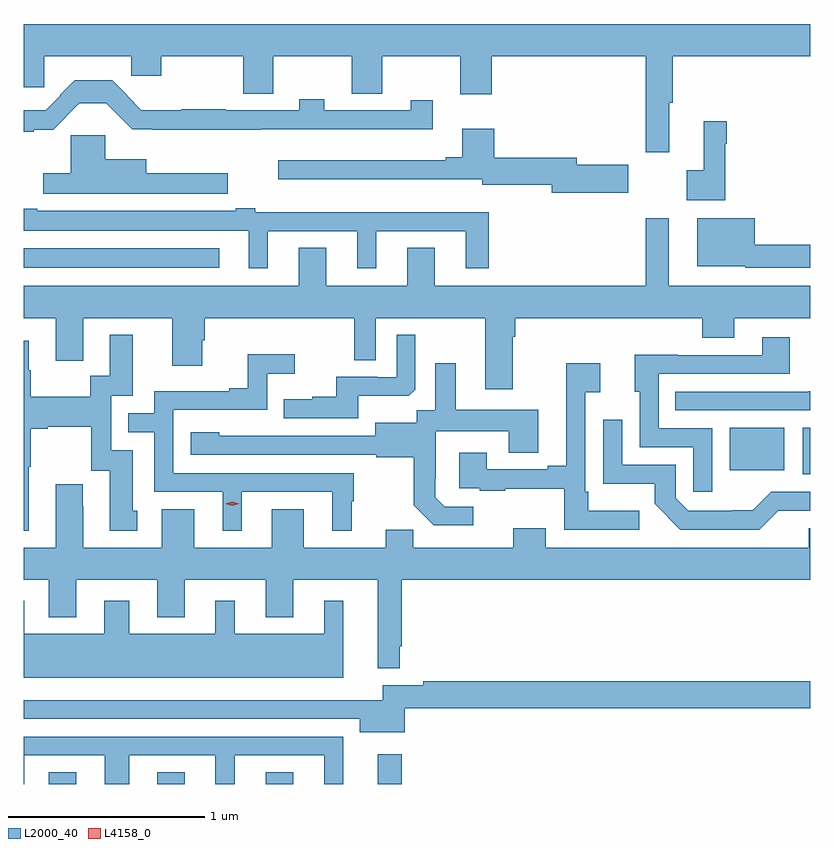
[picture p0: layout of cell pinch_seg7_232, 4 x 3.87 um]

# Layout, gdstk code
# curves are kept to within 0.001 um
import gdstk
lib = gdstk.Library(unit=1e-6, precision=1e-09)
def R(c, l, rs):  # rectangles x0, y0, x1, y1
    for r in rs: c.add(gdstk.rectangle(r[:2], r[2:], *l))
def A(c, l, x, y, w, h, nx, ny, dx, dy):  # array of equal rectangles
    R(c, l, [(x+i*dx, y+j*dy, x+i*dx+w, y+j*dy+h) for i in range(nx) for j in range(ny)])
def P(c, l, *ps):  # polygons
    for p in ps: c.add(gdstk.Polygon(p, *l))
L2000_40 = (2000, 40)
L4158_0 = (4158, 0)

pinch_seg7_232 = lib.new_cell('pinch_seg7_232')
A(pinch_seg7_232, L2000_40, 837.443, 1056.854, 0.14, 0.06, 3, 1, 0.552, 0)
R(pinch_seg7_232, L2000_40, [(839.117,1056.854,839.239,1057.006), (841.28,1058.429,841.317,1058.665), (840.908,1058.45,841.186,1058.665), (837.317,1059.479,838.312,1059.58)])
P(pinch_seg7_232, L2000_40, [(840.599,1060.32),(840.617,1060.32),(840.617,1060.556),(841.317,1060.556),(841.317,1060.72),(837.317,1060.72),(837.317,1060.398),(837.42,1060.398),(837.42,1060.556),(837.863,1060.556),(837.863,1060.458),(838.017,1060.458),(838.017,1060.556),(838.432,1060.556),(838.432,1060.366),(838.587,1060.366),(838.587,1060.556),(838.984,1060.556),(838.984,1060.366),(839.139,1060.366),(839.139,1060.556),(839.536,1060.556),(839.536,1060.362),(839.696,1060.362),(839.696,1060.556),(840.481,1060.556),(840.481,1060.068),(840.599,1060.068)],
  [(837.368,1060.183),(837.466,1060.183),(837.6,1060.317),(837.735,1060.317),(837.868,1060.184),(839.398,1060.184),(839.398,1060.333),(839.285,1060.333),(839.285,1060.281),(838.846,1060.281),(838.846,1060.336),(838.717,1060.336),(838.717,1060.281),(838.343,1060.281),(838.343,1060.286),(838.118,1060.286),(838.118,1060.282),(837.914,1060.282),(837.842,1060.355),(837.844,1060.357),(837.767,1060.435),(837.577,1060.435),(837.5,1060.357),(837.503,1060.355),(837.429,1060.281),(837.317,1060.281),(837.317,1060.173),(837.368,1060.173)],
  [(840.886,1060.112),(840.893,1060.112),(840.893,1060.225),(840.776,1060.225),(840.776,1059.977),(840.69,1059.977),(840.69,1059.824),(840.886,1059.824)],
  [(840.391,1060.004),(840.13,1060.004),(840.13,1060.04),(839.711,1060.04),(839.711,1060.186),(839.546,1060.186),(839.546,1060.041),(839.462,1060.041),(839.462,1060.027),(838.611,1060.027),(838.611,1059.929),(839.649,1059.929),(839.649,1059.902),(840.002,1059.902),(840.002,1059.862),(840.391,1059.862)],
  [(838.354,1059.961),(837.94,1059.961),(837.94,1060.033),(837.731,1060.033),(837.731,1060.153),(837.556,1060.153),(837.556,1059.961),(837.417,1059.961),(837.417,1059.857),(838.354,1059.857)],
  [(838.558,1059.666),(839.012,1059.666),(839.012,1059.477),(839.11,1059.477),(839.11,1059.666),(839.564,1059.666),(839.564,1059.477),(839.681,1059.477),(839.681,1059.763),(838.494,1059.763),(838.494,1059.782),(838.394,1059.782),(838.394,1059.769),(837.385,1059.769),(837.385,1059.779),(837.317,1059.779),(837.317,1059.668),(838.46,1059.668),(838.46,1059.477),(838.558,1059.477)],
  [(839.803,1059.128),(839.816,1059.128),(839.816,1059.224),(840.767,1059.224),(840.767,1059.125),(840.931,1059.125),(840.931,1059.224),(841.317,1059.224),(841.317,1059.388),(840.598,1059.388),(840.598,1059.733),(840.481,1059.733),(840.481,1059.388),(839.407,1059.388),(839.407,1059.581),(839.267,1059.581),(839.267,1059.388),(838.855,1059.388),(838.855,1059.581),(838.715,1059.581),(838.715,1059.388),(837.317,1059.388),(837.317,1059.224),(837.479,1059.224),(837.479,1059.006),(837.619,1059.006),(837.619,1059.224),(838.073,1059.224),(838.073,1058.982),(838.225,1058.982),(838.225,1059.111),(838.238,1059.111),(838.238,1059.224),(838.998,1059.224),(838.998,1059.01),(839.106,1059.01),(839.106,1059.224),(839.663,1059.224),(839.663,1058.862),(839.803,1058.862)],
  [(841.317,1059.596),(841.036,1059.596),(841.036,1059.733),(840.743,1059.733),(840.743,1059.488),(840.987,1059.488),(840.987,1059.48),(841.317,1059.48)],
  [(839.017,1058.828),(839.275,1058.828),(839.307,1058.859),(839.307,1059.139),(839.214,1059.139),(839.214,1058.922),(839.114,1058.922),(839.114,1058.925),(838.907,1058.925),(838.907,1058.824),(838.783,1058.824),(838.783,1058.812),(838.639,1058.812),(838.639,1058.715),(839.017,1058.715)],
  [(837.343,1058.467),(837.351,1058.467),(837.351,1058.66),(837.439,1058.66),(837.439,1058.672),(837.659,1058.672),(837.659,1058.448),(837.755,1058.448),(837.755,1058.142),(837.895,1058.142),(837.895,1058.244),(837.871,1058.244),(837.871,1058.553),(837.762,1058.553),(837.762,1058.829),(837.871,1058.829),(837.871,1059.139),(837.755,1059.139),(837.755,1058.93),(837.654,1058.93),(837.654,1058.824),(837.351,1058.824),(837.351,1058.958),(837.343,1058.958),(837.343,1059.109),(837.317,1059.109),(837.317,1058.141),(837.343,1058.141)],
  [(840.819,1058.664),(840.546,1058.664),(840.546,1058.94),(841.213,1058.94),(841.213,1059.127),(841.073,1059.127),(841.073,1059.036),(840.643,1059.036),(840.643,1059.038),(840.425,1059.038),(840.425,1058.85),(840.45,1058.85),(840.45,1058.568),(840.723,1058.568),(840.723,1058.34),(840.819,1058.34)],
  [(838.426,1058.34),(838.886,1058.34),(838.886,1058.141),(838.984,1058.141),(838.984,1058.292),(838.996,1058.292),(838.996,1058.436),(838.077,1058.436),(838.077,1058.757),(838.554,1058.757),(838.554,1058.942),(838.696,1058.942),(838.696,1059.041),(838.456,1059.041),(838.456,1058.866),(838.361,1058.866),(838.361,1058.853),(837.981,1058.853),(837.981,1058.739),(837.847,1058.739),(837.847,1058.643),(837.981,1058.643),(837.981,1058.34),(838.328,1058.34),(838.328,1058.141),(838.426,1058.141)],
  [(840.448,1058.245),(840.187,1058.245),(840.187,1058.341),(840.174,1058.341),(840.174,1058.846),(840.25,1058.846),(840.25,1058.995),(840.077,1058.995),(840.077,1058.473),(839.981,1058.473),(839.981,1058.454),(839.671,1058.454),(839.671,1058.539),(839.531,1058.539),(839.531,1058.358),(839.635,1058.358),(839.635,1058.346),(839.767,1058.346),(839.767,1058.357),(840.066,1058.357),(840.066,1058.148),(840.448,1058.148)],
  [(839.602,1058.265),(839.457,1058.265),(839.41,1058.312),(839.41,1058.407),(839.412,1058.407),(839.412,1058.648),(839.783,1058.648),(839.783,1058.539),(839.935,1058.539),(839.935,1058.758),(839.515,1058.758),(839.515,1058.995),(839.411,1058.995),(839.411,1058.756),(839.316,1058.756),(839.316,1058.692),(839.105,1058.692),(839.105,1058.625),(838.311,1058.626),(838.311,1058.644),(838.167,1058.644),(838.167,1058.529),(839.109,1058.529),(839.109,1058.517),(839.301,1058.517),(839.301,1058.271),(839.401,1058.171),(839.602,1058.171)],
  [(841.317,1058.851),(841.309,1058.851),(841.309,1058.85),(840.631,1058.85),(840.631,1058.754),(841.317,1058.754)],
  [(841.154,1058.243),(841.317,1058.243),(841.317,1058.34),(841.119,1058.34),(841.025,1058.246),(840.92,1058.246),(840.92,1058.244),(840.696,1058.244),(840.633,1058.307),(840.633,1058.478),(840.36,1058.478),(840.36,1058.707),(840.264,1058.707),(840.264,1058.381),(840.526,1058.381),(840.526,1058.279),(840.656,1058.148),(841.059,1058.148)],
  [(839.228,1057.555),(839.239,1057.555),(839.239,1057.892),(841.317,1057.892),(841.317,1058.154),(841.31,1058.154),(841.31,1058.056),(839.971,1058.056),(839.971,1058.155),(839.807,1058.155),(839.807,1058.056),(839.297,1058.056),(839.297,1058.147),(839.159,1058.147),(839.159,1058.056),(838.741,1058.056),(838.741,1058.251),(838.577,1058.251),(838.577,1058.056),(838.183,1058.056),(838.183,1058.251),(838.019,1058.251),(838.019,1058.056),(837.619,1058.056),(837.619,1058.267),(837.616,1058.267),(837.616,1058.38),(837.479,1058.38),(837.479,1058.056),(837.317,1058.056),(837.317,1057.892),(837.443,1057.892),(837.443,1057.703),(837.583,1057.703),(837.583,1057.892),(837.995,1057.892),(837.995,1057.703),(838.135,1057.703),(838.135,1057.892),(838.547,1057.892),(838.547,1057.703),(838.687,1057.703),(838.687,1057.892),(839.117,1057.892),(839.117,1057.443),(839.228,1057.443)],
  [(838.942,1057.786),(838.844,1057.786),(838.844,1057.618),(838.39,1057.618),(838.39,1057.786),(838.292,1057.786),(838.292,1057.618),(837.853,1057.618),(837.853,1057.786),(837.725,1057.786),(837.725,1057.618),(837.319,1057.618),(837.319,1057.786),(837.317,1057.786),(837.317,1057.394),(838.942,1057.394)],
  [(839.254,1057.24),(841.317,1057.24),(841.317,1057.376),(839.35,1057.376),(839.35,1057.356),(839.144,1057.356),(839.144,1057.281),(837.317,1057.281),(837.317,1057.185),(839.027,1057.185),(839.027,1057.118),(839.254,1057.118)],
  [(837.319,1056.999),(837.728,1056.999),(837.728,1056.854),(837.853,1056.854),(837.853,1056.999),(838.292,1056.999),(838.292,1056.854),(838.39,1056.854),(838.39,1056.999),(838.844,1056.999),(838.844,1056.854),(838.942,1056.854),(838.942,1057.095),(837.317,1057.095),(837.317,1056.854),(837.319,1056.854)])
P(pinch_seg7_232, L4158_0, [(838.377,1058.269),(838.341,1058.279),(838.341,1058.279),(838.341,1058.279),(838.377,1058.289),(838.413,1058.279),(838.413,1058.279),(838.413,1058.279)])

lib.write_gds('pinch_seg7_232.gds')
